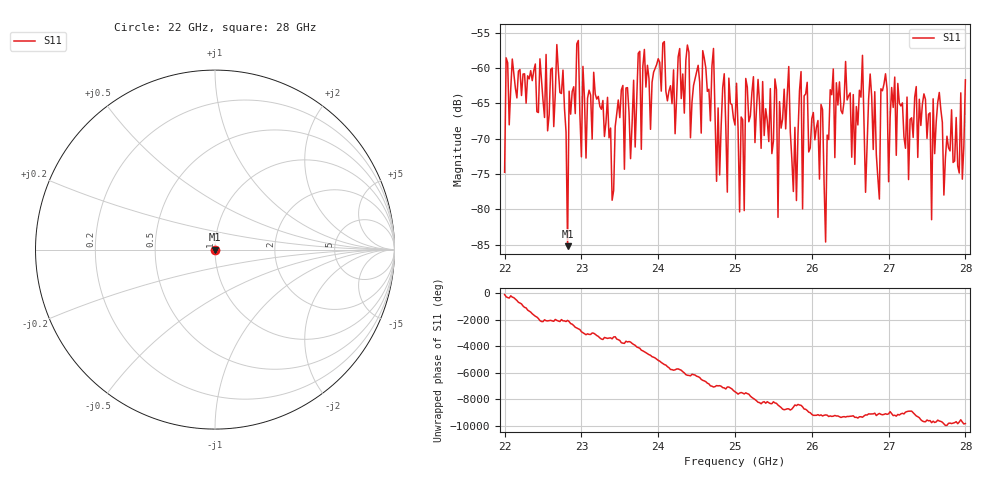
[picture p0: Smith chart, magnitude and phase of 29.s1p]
#  HZ  S  RI  R  50.00
! Rohde & Schwarz ZVA40 4Ports - Version 3.90 - 1145.1110k42 SN: 100403
! Date: 2023-10-04 08:02:11
! Measurement: S12
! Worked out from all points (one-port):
!   301 points, 22 GHz to 28 GHz, reference 50 ohm
!   lowest |S11| = -85.2 dB at 22.82 GHz (marker M1), VSWR 1.00, Z = 50 + j0.00533 ohm
!   |S11| at or under -10 dB: start of sweep to end of sweep
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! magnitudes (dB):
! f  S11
! 22 GHz  -74.8
! 22.02 GHz  -58.5
! 22.76 GHz  -60.3
! 22.82 GHz  -85.2
! 22.84 GHz  -63.3
! 22.96 GHz  -56.1
! 23 GHz  -72.6
! 23.5 GHz  -67.0
! 24.26 GHz  -58.4
! 25 GHz  -68.1
! 25.12 GHz  -80.2
! 25.14 GHz  -61.5
! 25.52 GHz  -61.5
! 25.56 GHz  -81.2
! 25.7 GHz  -59.8
! 25.76 GHz  -77.5
! 25.86 GHz  -60.5
! 25.88 GHz  -80.0
! 25.94 GHz  -62.0
! 26.18 GHz  -84.6
! 26.28 GHz  -60.1
! 26.5 GHz  -63.5
! 27.26 GHz  -75.8
! 27.36 GHz  -62.6
! 27.56 GHz  -81.5
! 27.66 GHz  -63.4
! 27.96 GHz  -75.7
! 28 GHz  -61.7
